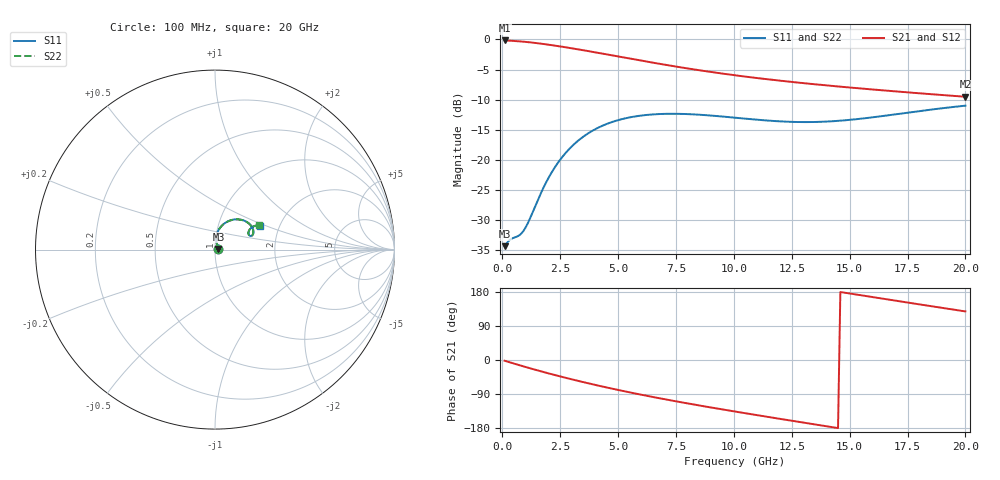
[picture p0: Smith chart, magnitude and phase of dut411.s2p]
! Touchstone file exported from HFSS 2024.1.0
!  File:  C:/UserFiles/LocalFiles/RDL_TSV_Batchsim/temp_RDL_TSV_411_1779714298.aedt
!  Generated:  09:23:44 PM May 25, 2026
!  Design:  RDL_TSV
!  Project:  temp_RDL_TSV_411_1779714298
!  Setup:  Setup1
!  Solution:  Sweep
! Variables:
!  dtsv = 9.67um
!  hbump = 3um
!  htsv = 54.6um
!  ldown = 692.41um
!  lrdl = 411.19um
!  p = 40
!  p1 = 45.44um
!  rhole = 10um
!  subl = 3721.99um
!  t = 450um
!  tdown = 3.85um
!  trdl = 2.25um
!  viad = 10um
!  wdown = 20.92um
!  wrdl = 28.72um
!  xbump = 18um
# GHz S MA R 50.000000
! Terminal data exported
! Port[1] = TM1_1_T1
! Port[2] = TM1_4_T1
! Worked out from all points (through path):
!   200 points, 100 MHz to 20 GHz, reference 50 ohm
!   highest |S21| = -0.17 dB at 100 MHz (marker M1); lowest = -9.5 dB at 20 GHz (marker M2)
!   group delay of S21, straight-line fit = 30.6 ps
!   lowest |S11| = -34.3 dB at 100 MHz (marker M3), VSWR 1.04, Z = 51.9 + j0.322 ohm
!   |S11| at or under -10 dB: start of sweep to end of sweep
!   |S22| runs from -34.3 to -11.0 dB; largest |S21 - S12| = 2.9e-14
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0.1  0.01925 9.3  0.9807 -1.9  0.9807 -1.9  0.01925 9.3
! Gamma 0 0 0 0
! Port Impedance 50 0 50 0
0.3  0.02152 20.8  0.9768 -5.7  0.9768 -5.7  0.02152 20.8
0.7  0.02345 40.7  0.9656 -13.0  0.9656 -13.0  0.02346 40.7
0.9  0.02553 53.7  0.9585 -16.6  0.9585 -16.6  0.02554 53.7
1.1  0.02979 65.8  0.9504 -20.1  0.9504 -20.1  0.02981 65.7
1.8  0.05999 83.9  0.9157 -32.1  0.9157 -32.1  0.06 83.8
2.2  0.08275 83.6  0.8929 -38.6  0.8929 -38.6  0.08273 83.5
2.6  0.1064 80.4  0.869 -44.9  0.869 -44.9  0.1064 80.4
3  0.1295 76.0  0.8445 -51.0  0.8445 -51.0  0.1294 76.0
3.5  0.1561 69.9  0.8135 -58.4  0.8135 -58.4  0.156 69.8
4.2  0.1875 61.2  0.7704 -68.3  0.7704 -68.3  0.1873 61.1
4.9  0.2111 53.0  0.7285 -77.7  0.7285 -77.7  0.2108 53.0
5.8  0.2307 43.8  0.6779 -89.2  0.6779 -89.2  0.2303 43.8
6.8  0.2404 35.4  0.6272 -101.1  0.6272 -101.1  0.2399 35.4
8.4  0.238 25.9  0.559 -118.8  0.559 -118.8  0.2374 25.9
10.1  0.2237 21.1  0.5026 -136.5  0.5026 -136.5  0.223 21.0
11.7  0.2106 21.1  0.4613 -152.4  0.4613 -152.4  0.2098 21.1
13.4  0.2063 24.6  0.4263 -169.0  0.4263 -169.0  0.2055 24.7
15  0.215 28.6  0.3991 175.5  0.3991 175.5  0.2142 28.7
16.7  0.2351 30.9  0.3743 159.3  0.3743 159.3  0.2344 31.1
18.4  0.2599 30.6  0.3526 143.2  0.3526 143.2  0.2593 30.7
20  0.282 28.4  0.3345 128.2  0.3345 128.2  0.2814 28.6
